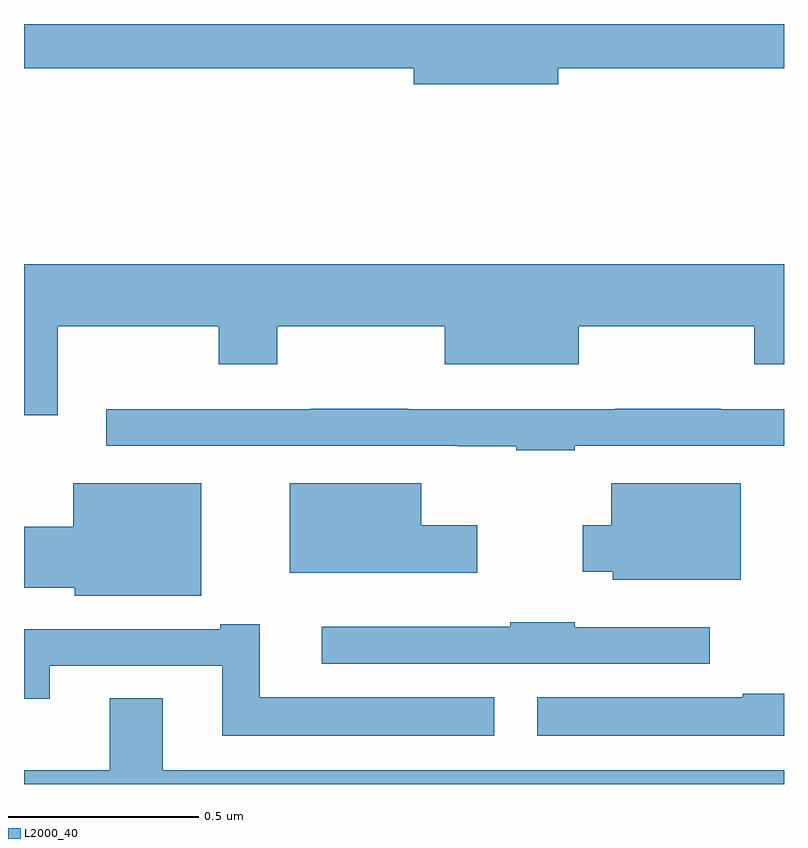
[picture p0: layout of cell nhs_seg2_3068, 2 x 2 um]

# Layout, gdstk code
import gdstk
lib = gdstk.Library(unit=1e-6, precision=1e-09)
def P(c, l, *ps):  # polygons
    for p in ps: c.add(gdstk.Polygon(p, *l))
L2000_40 = (2000, 40)

nhs_seg2_3068 = lib.new_cell('nhs_seg2_3068')
P(nhs_seg2_3068, L2000_40, [(150.406,613.684),(151,613.684),(151,613.8),(149,613.8),(149,613.684),(150.026,613.684),(150.026,613.642),(150.406,613.642)],
  [(149.089,613.004),(149.512,613.004),(149.512,612.905),(149.667,612.905),(149.667,613.004),(150.107,613.004),(150.107,612.905),(150.46,612.905),(150.46,613.004),(150.922,613.004),(150.922,612.905),(151,612.905),(151,613.168),(149,613.168),(149,612.771),(149.089,612.771)],
  [(150.449,612.69),(151,612.69),(151,612.786),(150.833,612.786),(150.833,612.788),(150.556,612.788),(150.556,612.786),(150.011,612.786),(150.011,612.788),(149.755,612.788),(149.755,612.786),(149.217,612.786),(149.217,612.69),(150.142,612.69),(150.142,612.689),(150.296,612.689),(150.296,612.678),(150.449,612.678)],
  [(149.467,612.592),(149.129,612.592),(149.129,612.477),(149,612.477),(149,612.317),(149.133,612.317),(149.133,612.296),(149.467,612.296)],
  [(150.193,612.481),(150.046,612.481),(150.046,612.592),(149.699,612.592),(149.699,612.356),(150.193,612.356)],
  [(150.886,612.592),(150.545,612.592),(150.545,612.481),(150.47,612.481),(150.47,612.359),(150.549,612.359),(150.549,612.338),(150.886,612.338)],
  [(150.805,612.213),(150.449,612.213),(150.449,612.226),(150.28,612.226),(150.28,612.214),(149.784,612.214),(149.784,612.117),(150.805,612.117)],
  [(150.238,612.028),(149.62,612.028),(149.62,612.22),(149.516,612.22),(149.516,612.207),(149,612.207),(149,612.024),(149.068,612.024),(149.068,612.111),(149.522,612.111),(149.522,611.927),(150.238,611.927)],
  [(151,612.038),(150.892,612.038),(150.892,612.028),(150.351,612.028),(150.351,611.927),(151,611.927)],
  [(151,611.836),(149.365,611.836),(149.365,612.026),(149.225,612.026),(149.225,611.836),(149,611.836),(149,611.8),(151,611.8)])

lib.write_gds('nhs_seg2_3068.gds')
